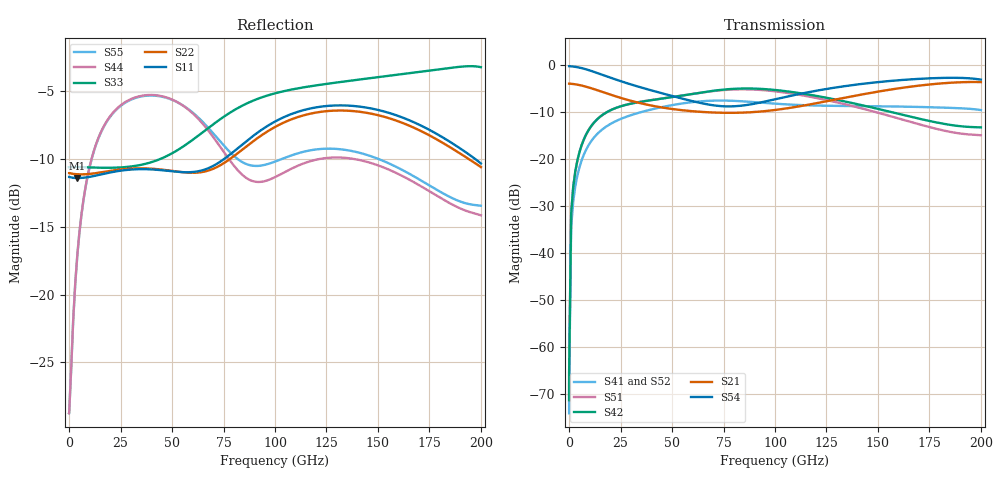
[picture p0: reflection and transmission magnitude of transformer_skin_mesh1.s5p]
! Created with skrf 2.2.0 (http://scikit-rf.org).
# GHz S DB R 50.0
! Port[1] = P1
! Port[2] = P2
! Port[3] = P3
! Port[4] = P4
! Port[5] = P5
!freq dBS11 angS11 dBS12 angS12 dBS13 angS13
! dBS14 angS14 dBS15 angS15
! dBS21 angS21 dBS22 angS22 dBS23 angS23
! dBS24 angS24 dBS25 angS25
! dBS31 angS31 dBS32 angS32 dBS33 angS33
! dBS34 angS34 dBS35 angS35
! dBS41 angS41 dBS42 angS42 dBS43 angS43
! dBS44 angS44 dBS45 angS45
! dBS51 angS51 dBS52 angS52 dBS53 angS53
! dBS54 angS54 dBS55 angS55
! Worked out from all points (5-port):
!   202 points, 10 MHz to 200 GHz, reference 50 ohm
!   strongest paths, dB at 10 MHz, 49 GHz, 100 GHz, 150 GHz, 200 GHz:
!     S54: -0.3, -6.5, -7.4, -3.7, -3.2
!     S21: -4.0, -9.4, -9.6, -5.7, -3.7
!     S42: -71.2, -7.0, -5.4, -9.4, -13.3
!     S51: -71.3, -6.9, -5.7, -10.2, -15.0
!     S41: -74.0, -8.7, -8.3, -8.8, -9.6
!     S52: -74.0, -8.7, -8.3, -9.0, -9.9
!   lowest |S11| = -11.4 dB at 4 GHz (marker M1), VSWR 1.74, Z = 29.7 + j7.09 ohm
!   |S11| at or under -10 dB: start of sweep to 75.16 GHz; 197.3 GHz to end of sweep
